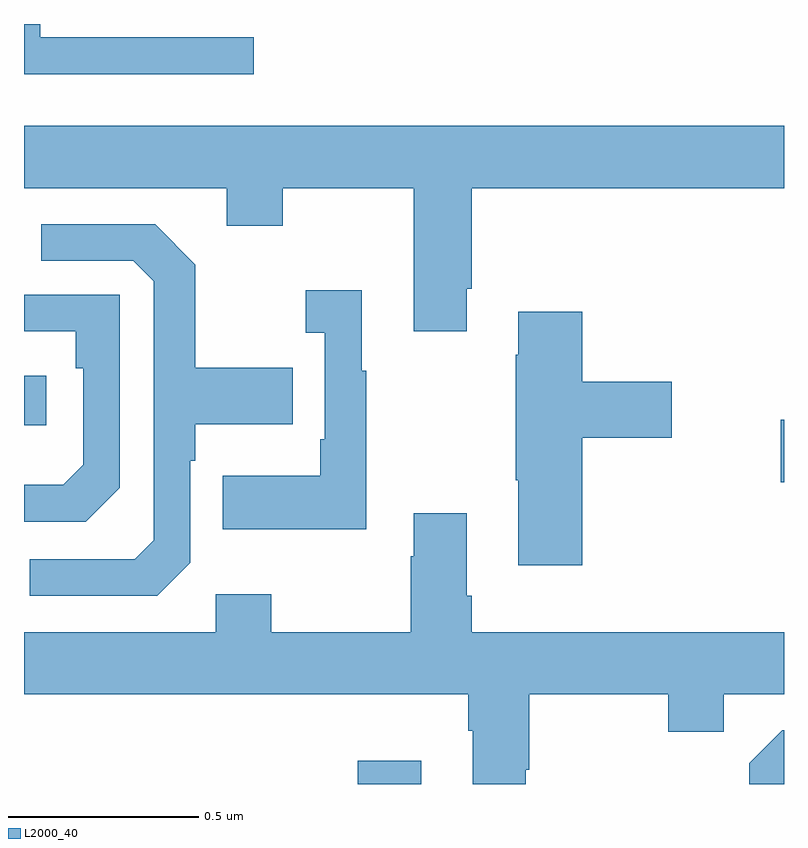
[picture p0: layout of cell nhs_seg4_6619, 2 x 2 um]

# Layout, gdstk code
import gdstk
lib = gdstk.Library(unit=1e-6, precision=1e-09)
def R(c, l, rs):  # rectangles x0, y0, x1, y1
    for r in rs: c.add(gdstk.rectangle(r[:2], r[2:], *l))
def P(c, l, *ps):  # polygons
    for p in ps: c.add(gdstk.Polygon(p, *l))
L2000_40 = (2000, 40)

nhs_seg4_6619 = lib.new_cell('nhs_seg4_6619')
R(nhs_seg4_6619, L2000_40, [(192.878,813.9,193.045,813.961), (193.992,814.694,194,814.858), (192,814.844,192.058,814.974)])
P(nhs_seg4_6619, L2000_40, [(192.604,815.865),(192.043,815.865),(192.043,815.9),(192,815.9),(192,815.768),(192.604,815.768)],
  [(193.165,815.203),(193.178,815.203),(193.178,815.468),(194,815.468),(194,815.632),(192,815.632),(192,815.468),(192.533,815.468),(192.533,815.369),(192.681,815.369),(192.681,815.468),(193.025,815.468),(193.025,815.091),(193.165,815.091)],
  [(192.438,814.482),(192.438,814.751),(192.451,814.751),(192.451,814.847),(192.707,814.847),(192.707,814.995),(192.451,814.995),(192.451,815.267),(192.345,815.373),(192.045,815.373),(192.045,815.277),(192.288,815.277),(192.342,815.223),(192.342,814.542),(192.291,814.491),(192.015,814.491),(192.015,814.395),(192.351,814.395)],
  [(192.901,814.987),(192.889,814.987),(192.889,815.2),(192.741,815.2),(192.741,815.087),(192.792,815.087),(192.792,814.807),(192.78,814.807),(192.78,814.711),(192.523,814.711),(192.523,814.571),(192.901,814.571)],
  [(192.252,814.68),(192.252,815.187),(192,815.187),(192,815.091),(192.136,815.091),(192.136,814.994),(192.156,814.994),(192.156,814.74),(192.103,814.687),(192,814.687),(192,814.59),(192.162,814.59)],
  [(193.469,814.811),(193.705,814.811),(193.705,814.958),(193.469,814.958),(193.469,815.143),(193.301,815.143),(193.301,815.03),(193.294,815.03),(193.294,814.699),(193.301,814.699),(193.301,814.476),(193.469,814.476)],
  [(193.321,813.937),(193.329,813.937),(193.329,814.136),(193.696,814.136),(193.696,814.037),(193.842,814.037),(193.842,814.136),(194,814.136),(194,814.3),(193.178,814.3),(193.178,814.396),(193.165,814.396),(193.165,814.612),(193.025,814.612),(193.025,814.499),(193.018,814.499),(193.018,814.3),(192.651,814.3),(192.651,814.399),(192.504,814.399),(192.504,814.3),(192,814.3),(192,814.136),(193.169,814.136),(193.169,814.04),(193.181,814.04),(193.181,813.9),(193.321,813.9)],
  [(194,814.041),(193.995,814.041),(193.908,813.954),(193.908,813.9),(194,813.9)])

lib.write_gds('nhs_seg4_6619.gds')
